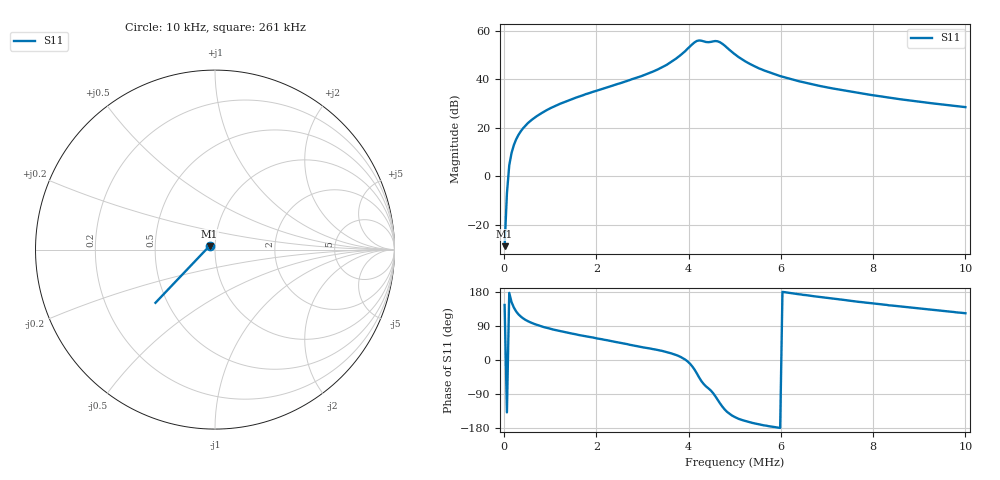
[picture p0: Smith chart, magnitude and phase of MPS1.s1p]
! ListType=Lin
!!TFReceiveChain3008 bei TX-Level -48dBm
# MHz S DB R 50
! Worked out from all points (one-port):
!   200 points, 10 kHz to 10 MHz, reference 50 ohm
!   lowest |S11| = -28.8 dB at 10 kHz (marker M1), VSWR 1.08, Z = 47.1 + j1.96 ohm
!   |S11| at or under -10 dB: start of sweep to 53.35 kHz
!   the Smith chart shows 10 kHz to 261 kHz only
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0.01  -28.77 145.3
1.265025  30.29 75.1
2.52005  38.37 45.3
3.323266  43.97 26.4
3.52407  45.93 21.1
3.775075  49.19 11.0
3.925678  51.58 1.1
4.02608  53.46 -9.4
4.076281  54.36 -16.5
4.126482  55.17 -25.1
4.176683  55.76 -35.2
4.226884  55.97 -46.0
4.277085  55.87 -55.8
4.377487  55.33 -69.8
4.477889  55.37 -80.1
4.578291  55.74 -95.6
4.628493  55.62 -104.9
4.678693  55.24 -114.2
4.728895  54.63 -122.7
4.779096  53.89 -130.1
4.879498  52.19 -141.2
5.0301  49.88 -152.3
5.230905  47.33 -161.0
5.48191  44.86 -168.7
6.285126  39.70 -184.8
7.540151  34.82 -204.3
8.795176  31.22 -221.2
10  28.51 -236.6
